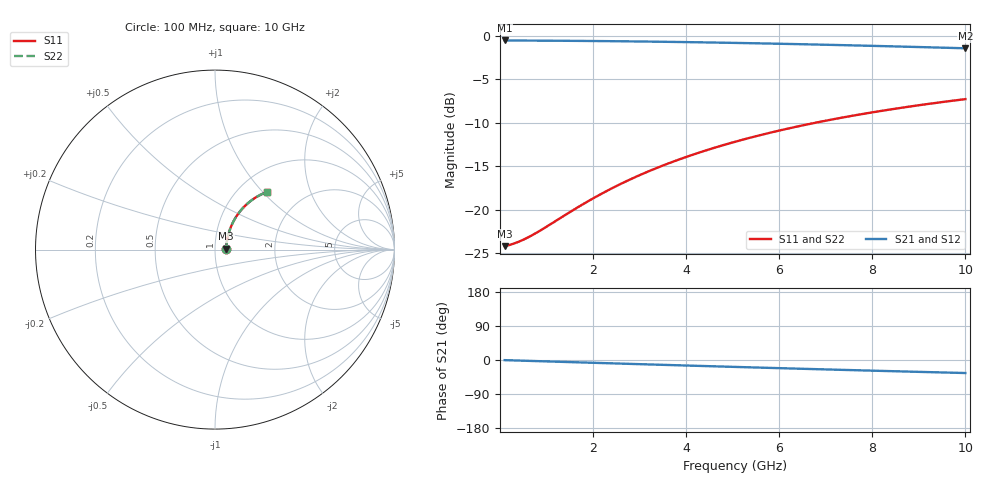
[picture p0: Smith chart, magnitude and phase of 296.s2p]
# Hz S RI R 50.00
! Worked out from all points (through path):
!   100 points, 100 MHz to 10 GHz, reference 50 ohm
!   highest |S21| = -0.55 dB at 100 MHz (marker M1); lowest = -1.5 dB at 10 GHz (marker M2)
!   group delay of S21, straight-line fit = 9.59 ps
!   lowest |S11| = -24.2 dB at 100 MHz (marker M3), VSWR 1.13, Z = 56.5 + j0.51 ohm
!   |S11| at or under -10 dB: start of sweep to 6.793 GHz
!   |S22| runs from -24.2 to -7.3 dB; largest |S21 - S12| = 0
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1e8  0.0614 0.00449  0.9386 -0.00604  0.9386 -0.00604  0.0614 0.00449
3e8  0.0623 0.0134  0.9377 -0.0181  0.9377 -0.0181  0.0623 0.0134
4e8  0.0627 0.0179  0.9372 -0.0241  0.9372 -0.0241  0.0627 0.0179
5e8  0.0632 0.0224  0.9368 -0.0301  0.9368 -0.0301  0.0632 0.0224
7e8  0.0642 0.0313  0.9357 -0.0421  0.9357 -0.0421  0.0642 0.0313
9e8  0.0654 0.0401  0.9345 -0.0541  0.9345 -0.0541  0.0654 0.0401
1.5e9  0.0701 0.0665  0.9296 -0.0898  0.9296 -0.0898  0.0701 0.0665
1.8e9  0.0731 0.0794  0.9265 -0.1074  0.9265 -0.1074  0.0731 0.0794
2.2e9  0.0779 0.0965  0.9215 -0.1307  0.9215 -0.1307  0.0779 0.0965
2.6e9  0.0835 0.1132  0.9156 -0.1536  0.9156 -0.1536  0.0835 0.1132
3e9  0.0899 0.1295  0.909 -0.1761  0.909 -0.1761  0.0899 0.1295
3.4e9  0.097 0.1454  0.9015 -0.1983  0.9015 -0.1983  0.097 0.1454
3.8e9  0.1049 0.1608  0.8933 -0.22  0.8933 -0.22  0.1049 0.1608
4.2e9  0.1134 0.1758  0.8843 -0.2411  0.8843 -0.2411  0.1134 0.1758
4.6e9  0.1226 0.1901  0.8747 -0.2618  0.8747 -0.2618  0.1226 0.1901
5.1e9  0.135 0.2073  0.8617 -0.2867  0.8617 -0.2867  0.135 0.2073
5.9e9  0.1566 0.2327  0.839 -0.3247  0.839 -0.3247  0.1566 0.2327
6.7e9  0.18 0.2555  0.8142 -0.3601  0.8142 -0.3601  0.18 0.2555
7.5e9  0.205 0.2756  0.7878 -0.3929  0.7878 -0.3929  0.205 0.2756
8.4e9  0.2344 0.2949  0.7566 -0.4264  0.7566 -0.4264  0.2344 0.2949
9.2e9  0.2614 0.3091  0.7278 -0.4534  0.7278 -0.4534  0.2614 0.3091
1e10  0.2888 0.3207  0.6983 -0.4777  0.6983 -0.4777  0.2888 0.3207
